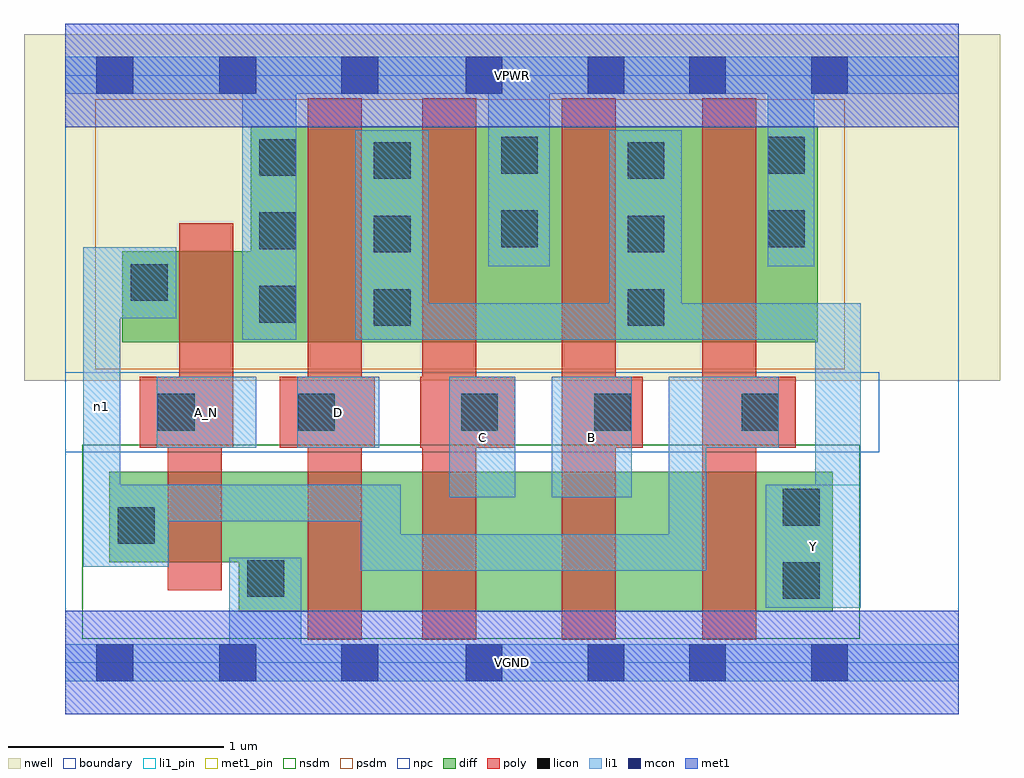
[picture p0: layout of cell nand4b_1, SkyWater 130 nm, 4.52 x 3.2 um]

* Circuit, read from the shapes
.subckt nand4b_1 A_N B C D VGND VPWR Y n1
XM1 VGND A_N n1 VSUBS sky130_fd_pr__nfet_01v8 w=0.42 l=0.25
XM2 n2 D VGND VSUBS sky130_fd_pr__nfet_01v8 w=0.65 l=0.25
XM3 n3 C n2 VSUBS sky130_fd_pr__nfet_01v8 w=0.65 l=0.25
XM4 n4 B n3 VSUBS sky130_fd_pr__nfet_01v8 w=0.65 l=0.25
XM5 Y n1 n4 VSUBS sky130_fd_pr__nfet_01v8 w=0.65 l=0.25
XM6 VPWR A_N n1 n5 sky130_fd_pr__pfet_01v8 w=0.42 l=0.25
XM7 Y D VPWR n5 sky130_fd_pr__pfet_01v8 w=1 l=0.25
XM8 VPWR C Y n5 sky130_fd_pr__pfet_01v8 w=1 l=0.25
XM9 Y B VPWR n5 sky130_fd_pr__pfet_01v8 w=1 l=0.25
XM10 VPWR n1 Y n5 sky130_fd_pr__pfet_01v8 w=1 l=0.25
.ends

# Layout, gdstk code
import gdstk
lib = gdstk.Library(unit=1e-6, precision=1e-09)
def R(c, l, rs):  # rectangles x0, y0, x1, y1
    for r in rs: c.add(gdstk.rectangle(r[:2], r[2:], *l))
def A(c, l, x, y, w, h, nx, ny, dx, dy):  # array of equal rectangles
    R(c, l, [(x+i*dx, y+j*dy, x+i*dx+w, y+j*dy+h) for i in range(nx) for j in range(ny)])
nwell = (64, 20)
diff = (65, 20)
poly = (66, 20)
licon = (66, 44)
li1_pin = (67, 16)
li1 = (67, 20)
mcon = (67, 44)
met1_pin = (68, 16)
met1 = (68, 20)
nsdm = (93, 44)
psdm = (94, 20)
npc = (95, 20)
boundary = (235, 4)

nand4b_1 = lib.new_cell('nand4b_1')
R(nand4b_1, nwell, [(-0.19,1.305,4.33,2.91), (0,1.305,4.14,2.91)])
R(nand4b_1, diff, [(0.805,0.235,3.555,0.885), (0.205,0.465,3.555,0.885), (0.265,1.485,3.485,1.905), (0.86,1.485,3.485,2.485)])
R(nand4b_1, poly, [(1.125,0.105,1.375,2.615), (1.655,0.105,1.905,2.615), (2.3,0.105,2.55,2.615), (2.95,0.105,3.2,2.615), (0.475,0.335,0.725,1.325), (0.345,0.995,0.78,1.325), (0.53,0.995,0.78,2.035), (0.995,0.995,1.435,1.325), (1.645,0.995,2.085,1.325), (2.3,0.995,2.675,1.325), (2.95,0.995,3.385,1.325)])
A(nand4b_1, licon, 1.43, 1.56, 0.17, 0.17, 1, 3, 0, 0.34)
A(nand4b_1, licon, 2.605, 1.56, 0.17, 0.17, 1, 3, 0, 0.34)
A(nand4b_1, licon, 0.9, 1.575, 0.17, 0.17, 1, 3, 0, 0.34)
R(nand4b_1, licon, [(3.325,0.295,3.495,0.465), (0.845,0.305,1.015,0.475), (0.245,0.55,0.415,0.72), (3.325,0.635,3.495,0.805), (0.43,1.075,0.6,1.245), (1.08,1.075,1.25,1.245), (1.835,1.075,2.005,1.245), (2.45,1.075,2.62,1.245), (3.135,1.075,3.305,1.245), (0.305,1.675,0.475,1.845), (2.02,1.925,2.19,2.095), (3.255,1.925,3.425,2.095), (2.02,2.265,2.19,2.435), (3.255,2.265,3.425,2.435)])
R(nand4b_1, li1_pin, [(3.245,0.255,3.685,0.825), (1.78,0.765,2.085,1.325), (2.255,0.765,2.625,1.325), (0.425,0.995,0.885,1.325), (1.075,0.995,1.455,1.325)])
R(nand4b_1, li1, [(0,-0.085,4.14,0.085), (0.76,-0.085,1.095,0.485), (3.245,0.255,3.685,0.825), (3.475,0.255,3.685,1.665), (1.37,0.425,2.97,0.595), (1.37,0.425,1.555,0.825), (2.795,0.425,2.97,1.325), (0.085,0.445,0.255,1.925), (0.085,0.445,0.48,0.825), (0.085,0.655,1.555,0.825), (1.78,0.765,2.085,1.325), (2.255,0.765,2.625,1.325), (0.425,0.995,0.885,1.325), (1.075,0.995,1.455,1.325), (2.795,0.995,3.305,1.325), (0.82,1.495,1.07,2.805), (1.345,1.495,3.685,1.665), (1.345,1.495,1.685,2.465), (2.52,1.495,2.855,2.465), (0.085,1.595,0.515,1.925), (1.96,1.835,2.245,2.805), (3.255,1.835,3.47,2.805), (0,2.635,4.14,2.805)])
R(nand4b_1, mcon, [(0.145,-0.085,0.315,0.085), (0.715,-0.085,0.885,0.085), (1.28,-0.085,1.45,0.085), (1.855,-0.085,2.025,0.085), (2.42,-0.085,2.59,0.085), (2.89,-0.085,3.06,0.085), (3.455,-0.085,3.625,0.085), (0.145,2.635,0.315,2.805), (0.715,2.635,0.885,2.805), (1.28,2.635,1.45,2.805), (1.855,2.635,2.025,2.805), (2.42,2.635,2.59,2.805), (2.89,2.635,3.06,2.805), (3.455,2.635,3.625,2.805)])
R(nand4b_1, met1_pin, [(0,-0.24,4.14,0.24), (0,2.48,4.14,2.96)])
R(nand4b_1, met1, [(0,-0.24,4.14,0.24), (0,2.48,4.14,2.96)])
R(nand4b_1, nsdm, [(0.08,0.11,3.68,1.01)])
R(nand4b_1, psdm, [(0.14,1.36,3.61,2.61)])
R(nand4b_1, npc, [(0,0.975,3.77,1.345)])
R(nand4b_1, boundary, [(0,0,4.14,2.72)])
nand4b_1.add(gdstk.Label('A_N', (0.655,1.16), layer=67, texttype=5))
nand4b_1.add(gdstk.Label('B', (2.44,1.045), layer=67, texttype=5))
nand4b_1.add(gdstk.Label('C', (1.932,1.045), layer=67, texttype=5))
nand4b_1.add(gdstk.Label('D', (1.265,1.16), layer=67, texttype=5))
nand4b_1.add(gdstk.Label('Y', (3.465,0.54), layer=67, texttype=5))
nand4b_1.add(gdstk.Label('n1', (0.17,1.185), layer=67, texttype=5))
nand4b_1.add(gdstk.Label('VPWR', (2.07,2.72), layer=68, texttype=5))
nand4b_1.add(gdstk.Label('VGND', (2.07,0), layer=68, texttype=5))
nand4b_1.add(gdstk.Label('A_N', (0.655,1.16), layer=67, texttype=16))
nand4b_1.add(gdstk.Label('B', (2.44,1.045), layer=67, texttype=16))
nand4b_1.add(gdstk.Label('C', (1.932,1.045), layer=67, texttype=16))
nand4b_1.add(gdstk.Label('D', (1.265,1.16), layer=67, texttype=16))
nand4b_1.add(gdstk.Label('Y', (3.465,0.54), layer=67, texttype=16))
nand4b_1.add(gdstk.Label('VPWR', (2.07,2.72), layer=68, texttype=16))
nand4b_1.add(gdstk.Label('VGND', (2.07,0), layer=68, texttype=16))

lib.write_gds('nand4b_1.gds')
